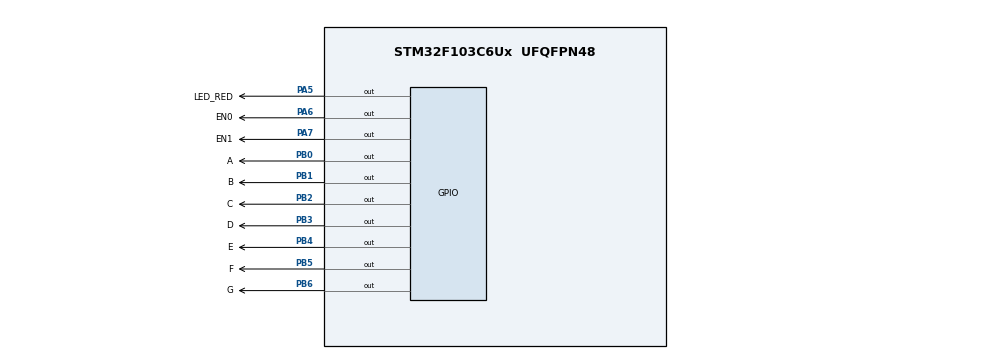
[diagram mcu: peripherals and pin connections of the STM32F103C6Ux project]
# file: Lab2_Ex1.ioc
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Mcu.Family=STM32F1
Mcu.Name=STM32F103C6Ux
Mcu.Package=UFQFPN48
NVIC.PriorityGroup=NVIC_PRIORITYGROUP_4
NVIC.TIM2_IRQn=true\:0\:0\:false\:false\:true\:true\:true\:true
PA5.GPIO_Label=LED_RED
PA5.Signal=GPIO_Output
PA6.GPIO_Label=EN0
PA6.Signal=GPIO_Output
PA7.GPIO_Label=EN1
PA7.Signal=GPIO_Output
PB0.GPIO_Label=A
PB0.Signal=GPIO_Output
PB1.GPIO_Label=B
PB1.Signal=GPIO_Output
PB2.GPIO_Label=C
PB2.Signal=GPIO_Output
PB3.GPIO_Label=D
PB3.Signal=GPIO_Output
PB4.GPIO_Label=E
PB4.Signal=GPIO_Output
PB5.GPIO_Label=F
PB5.Signal=GPIO_Output
PB6.GPIO_Label=G
PB6.Signal=GPIO_Output
ProjectManager.HeapSize=0x200
ProjectManager.StackSize=0x400
ProjectManager.TargetToolchain=STM32CubeIDE
RCC.APB1Freq_Value=8000000
RCC.APB2Freq_Value=8000000
TIM2.Period=9
TIM2.Prescaler=7999
VP_SYS_VS_ND.Mode=No_Debug
VP_TIM2_VS_ClockSourceINT.Mode=Internal
board=custom

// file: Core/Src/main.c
/* USER CODE BEGIN Header */
/**
  ******************************************************************************
  * @file           : main.c
  * @brief          : Main program body
  ******************************************************************************
  * @attention
  *
  * <h2><center>&copy; Copyright (c) 2022 STMicroelectronics.
  * All rights reserved.</center></h2>
  *
  * This software component is licensed by ST under BSD 3-Clause license,
  * the "License"; You may not use this file except in compliance with the
  * License. You may obtain a copy of the License at:
  *                        opensource.org/licenses/BSD-3-Clause
  *
  ******************************************************************************
  */
/* USER CODE END Header */
#include "main.h"

/* USER CODE BEGIN Includes */
#include "software_timer.h"
#include "display7SEG.h"
/* USER CODE END Includes */

TIM_HandleTypeDef htim2;

void SystemClock_Config(void);
static void MX_GPIO_Init(void);
static void MX_TIM2_Init(void);

int main(void)
{

  /* MCU Configuration--------------------------------------------------------*/

  /* Reset of all peripherals, Initializes the Flash interface and the Systick. */
  HAL_Init();

  /* Configure the system clock */
  SystemClock_Config();

  /* Initialize all configured peripherals */
  MX_GPIO_Init();
  MX_TIM2_Init();
  /* USER CODE BEGIN 2 */
  HAL_TIM_Base_Start_IT (& htim2 );
  /* USER CODE END 2 */

  /* Infinite loop */
while (1)
{
  }
}

void SystemClock_Config(void)
{
  RCC_OscInitTypeDef RCC_OscInitStruct = {0};
  RCC_ClkInitTypeDef RCC_ClkInitStruct = {0};

  /** Initializes the RCC Oscillators according to the specified parameters
  * in the RCC_OscInitTypeDef structure.
  */
  RCC_OscInitStruct.OscillatorType = RCC_OSCILLATORTYPE_HSI;
  RCC_OscInitStruct.HSIState = RCC_HSI_ON;
  RCC_OscInitStruct.HSICalibrationValue = RCC_HSICALIBRATION_DEFAULT;
  RCC_OscInitStruct.PLL.PLLState = RCC_PLL_NONE;
  if (HAL_RCC_OscConfig(&RCC_OscInitStruct) != HAL_OK)
  {
    Error_Handler();
  }

  /** Initializes the CPU, AHB and APB buses clocks
  */
  RCC_ClkInitStruct.ClockType = RCC_CLOCKTYPE_HCLK|RCC_CLOCKTYPE_SYSCLK
                              |RCC_CLOCKTYPE_PCLK1|RCC_CLOCKTYPE_PCLK2;
  RCC_ClkInitStruct.SYSCLKSource = RCC_SYSCLKSOURCE_HSI;
  RCC_ClkInitStruct.AHBCLKDivider = RCC_SYSCLK_DIV1;
  RCC_ClkInitStruct.APB1CLKDivider = RCC_HCLK_DIV1;
  RCC_ClkInitStruct.APB2CLKDivider = RCC_HCLK_DIV1;

  if (HAL_RCC_ClockConfig(&RCC_ClkInitStruct, FLASH_LATENCY_0) != HAL_OK)
  {
    Error_Handler();
  }
}

static void MX_TIM2_Init(void)
{

  TIM_ClockConfigTypeDef sClockSourceConfig = {0};
  TIM_MasterConfigTypeDef sMasterConfig = {0};

  htim2.Instance = TIM2;
  htim2.Init.Prescaler = 7999;
  htim2.Init.CounterMode = TIM_COUNTERMODE_UP;
  htim2.Init.Period = 9;
  htim2.Init.ClockDivision = TIM_CLOCKDIVISION_DIV1;
  htim2.Init.AutoReloadPreload = TIM_AUTORELOAD_PRELOAD_DISABLE;
  if (HAL_TIM_Base_Init(&htim2) != HAL_OK)
  {
    Error_Handler();
  }
  sClockSourceConfig.ClockSource = TIM_CLOCKSOURCE_INTERNAL;
  if (HAL_TIM_ConfigClockSource(&htim2, &sClockSourceConfig) != HAL_OK)
  {
    Error_Handler();
  }
  sMasterConfig.MasterOutputTrigger = TIM_TRGO_RESET;
  sMasterConfig.MasterSlaveMode = TIM_MASTERSLAVEMODE_DISABLE;
  if (HAL_TIMEx_MasterConfigSynchronization(&htim2, &sMasterConfig) != HAL_OK)
  {
    Error_Handler();
  }

}

static void MX_GPIO_Init(void)
{
  GPIO_InitTypeDef GPIO_InitStruct = {0};

  /* GPIO Ports Clock Enable */
  __HAL_RCC_GPIOA_CLK_ENABLE();
  __HAL_RCC_GPIOB_CLK_ENABLE();

  /*Configure GPIO pin Output Level */
  HAL_GPIO_WritePin(GPIOA, LED_RED_Pin|EN0_Pin|EN1_Pin, GPIO_PIN_RESET);

  /*Configure GPIO pin Output Level */
  HAL_GPIO_WritePin(GPIOB, A_Pin|B_Pin|C_Pin|D_Pin
                          |E_Pin|F_Pin|G_Pin, GPIO_PIN_RESET);

  /*Configure GPIO pins : LED_RED_Pin EN0_Pin EN1_Pin */
  GPIO_InitStruct.Pin = LED_RED_Pin|EN0_Pin|EN1_Pin;
  GPIO_InitStruct.Mode = GPIO_MODE_OUTPUT_PP;
  GPIO_InitStruct.Pull = GPIO_NOPULL;
  GPIO_InitStruct.Speed = GPIO_SPEED_FREQ_LOW;
  HAL_GPIO_Init(GPIOA, &GPIO_InitStruct);

  /*Configure GPIO pins : A_Pin B_Pin C_Pin D_Pin
                           E_Pin F_Pin G_Pin */
  GPIO_InitStruct.Pin = A_Pin|B_Pin|C_Pin|D_Pin
                          |E_Pin|F_Pin|G_Pin;
  GPIO_InitStruct.Mode = GPIO_MODE_OUTPUT_PP;
  GPIO_InitStruct.Pull = GPIO_NOPULL;
  GPIO_InitStruct.Speed = GPIO_SPEED_FREQ_LOW;
  HAL_GPIO_Init(GPIOB, &GPIO_InitStruct);

}

/* USER CODE BEGIN 4 */
int counter1 = 200;
int counter2 = 50;
int cases = 1;
int num1 = 0, num2 = 0;

void HAL_TIM_PeriodElapsedCallback(TIM_HandleTypeDef *htim){

	if(counter1>0){
		counter1--;
		if(counter1<=0) {
			counter1 = 200;
			num2++;
			if(num2>=10){
				num2 = 0;
				num1++;
			}
		}
	}
	if(counter2>0){
			counter2--;
			if(counter2<=0) {
				counter2 = 50;
				if(cases == 1) cases = 2;
				else cases = 1;
		}
	}
}

/* USER CODE END 4 */

void Error_Handler(void)
{
  __disable_irq();
  while (1)
  {
  }
}
